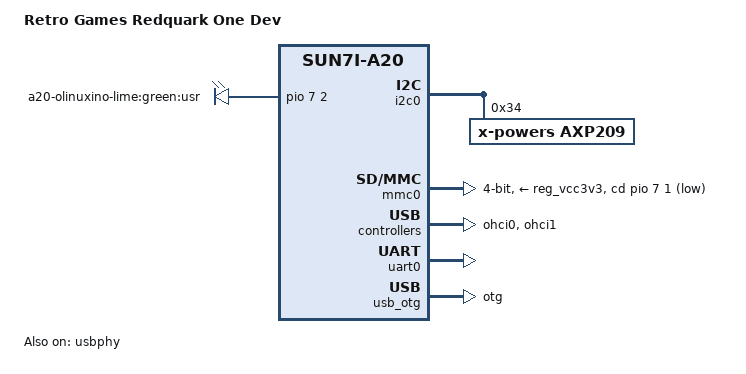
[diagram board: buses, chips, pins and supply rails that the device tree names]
/*
 * This is based on sun4i-a10-olinuxino-lime.dts
 *
 * Retro Computers Limited 2017
 */

/dts-v1/;
#include "sun7i-a20.dtsi"
#include "sunxi-common-regulators.dtsi"

#include <dt-bindings/gpio/gpio.h>
#include <dt-bindings/interrupt-controller/irq.h>
#include <dt-bindings/pinctrl/sun4i-a10.h>

/ {
	model = "Retro Games Redquark One Dev";
	compatible = "retrogames,a20-redquarkoneo-dev", "allwinner,sun7i-a20";

	aliases {
		serial0 = &uart0;
	};

	chosen {
		stdout-path = "serial0:115200n8";
	};

	leds {
		compatible = "gpio-leds";
		pinctrl-names = "default";
		pinctrl-0 = <&led_pins_redquarkone>;

		green {
			label = "a20-olinuxino-lime:green:usr";
			gpios = <&pio 7 2 GPIO_ACTIVE_HIGH>;
			default-state = "on";
		};
	};
};

&i2c0 {
	pinctrl-names = "default";
	pinctrl-0 = <&i2c0_pins_a>;
	status = "okay";

	axp209: pmic@34 {
		compatible = "x-powers,axp209";
		reg = <0x34>;
		interrupt-parent = <&nmi_intc>;
		interrupts = <0 IRQ_TYPE_LEVEL_LOW>;

		interrupt-controller;
		#interrupt-cells = <1>;
	};
};

&mmc0 {
	pinctrl-names = "default";
	pinctrl-0 = <&mmc0_pins_a>, <&mmc0_cd_pin_reference_design>;
	vmmc-supply = <&reg_vcc3v3>;
	bus-width = <4>;
	cd-gpios = <&pio 7 1 GPIO_ACTIVE_HIGH>; /* PH1 */
	cd-inverted;
	status = "okay";
};

&ohci0 {
	status = "okay";
};

&ohci1 {
	status = "okay";
};

&otg_sram {
	status = "okay";
};

&pio {
	led_pins_redquarkone: led_pins@0 {
		allwinner,pins = "PH2";
		allwinner,function = "gpio_out";
		allwinner,drive = <SUN4I_PINCTRL_20_MA>;
		allwinner,pull = <SUN4I_PINCTRL_NO_PULL>;
	};

	usb0_id_detect_pin: usb0_id_detect_pin@0 {
		allwinner,pins = "PH4";
		allwinner,function = "gpio_in";
		allwinner,drive = <SUN4I_PINCTRL_10_MA>;
		allwinner,pull = <SUN4I_PINCTRL_PULL_UP>;
	};

	usb0_vbus_detect_pin: usb0_vbus_detect_pin@0 {
		allwinner,pins = "PH5";
		allwinner,function = "gpio_in";
		allwinner,drive = <SUN4I_PINCTRL_10_MA>;
		allwinner,pull = <SUN4I_PINCTRL_PULL_DOWN>;
	};
};

&reg_usb0_vbus {
	status = "okay";
};

&reg_usb1_vbus {
	status = "okay";
};

&reg_usb2_vbus {
	status = "okay";
};

&uart0 {
	pinctrl-names = "default";
	pinctrl-0 = <&uart0_pins_a>;
	status = "okay";
};

&usb_otg {
	dr_mode = "otg";
	status = "okay";
};

&usbphy {
	pinctrl-names = "default";
	pinctrl-0 = <&usb0_id_detect_pin>, <&usb0_vbus_detect_pin>;
	usb0_id_det-gpio = <&pio 7 4 GPIO_ACTIVE_HIGH>; /* PH4 */
	usb0_vbus_det-gpio = <&pio 7 5 GPIO_ACTIVE_HIGH>; /* PH5 */
	usb0_vbus-supply = <&reg_usb0_vbus>;
	usb1_vbus-supply = <&reg_usb1_vbus>;
	usb2_vbus-supply = <&reg_usb2_vbus>;
	status = "okay";
};
